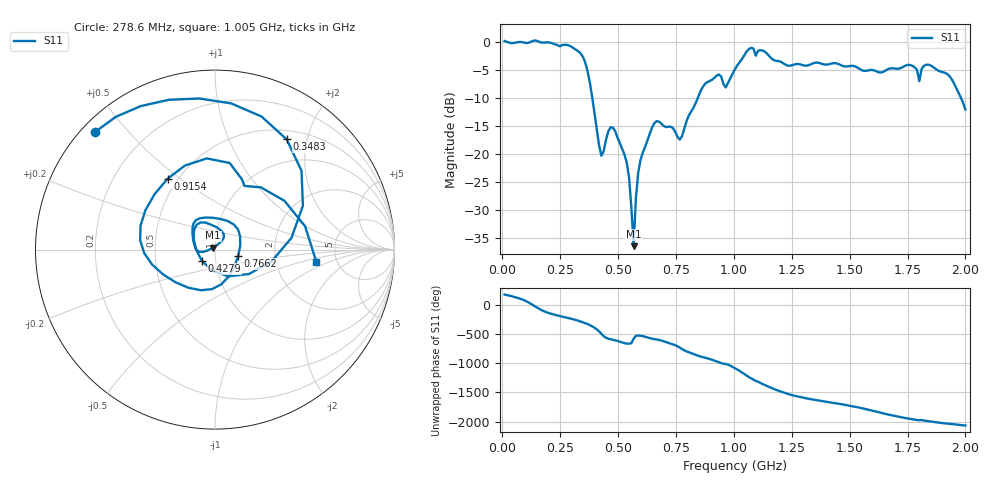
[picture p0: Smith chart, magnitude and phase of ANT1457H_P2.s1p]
!Created with skrf (http://scikit-rf.org).
# Hz S RI R 50.0
!freq ReS11 ImS11
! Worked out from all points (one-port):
!   201 points, 10 MHz to 2 GHz, reference 50 ohm
!   lowest |S11| = -36.5 dB at 567.2 MHz (marker M1), VSWR 1.03, Z = 48.9 + j1.02 ohm
!   |S11| at or under -10 dB: 388.7 MHz to 844.6 MHz (455.9 MHz wide, 73.9 % of centre); 1.981 GHz to end of sweep
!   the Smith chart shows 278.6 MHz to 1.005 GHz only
!   S11 on the Smith chart (normalised r, x): 278.6 MHz: 0.04, +0.41; 348.3 MHz: 0.63, +1.66; 427.9 MHz: 0.86, -0.11; 766.2 MHz: 1.29, -0.09; 915.5 MHz: 0.44, +0.45; 1.005 GHz: 3.48, -0.70
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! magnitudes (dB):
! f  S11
! 10 MHz  0.1
! 258.8 MHz  -0.6
! 278.6 MHz  -0.6
! 348.3 MHz  -2.7
! 378.1 MHz  -7.3
! 427.9 MHz  -20.3
! 467.7 MHz  -15.3
! 507.5 MHz  -18.0
! 547.3 MHz  -24.1
! 567.2 MHz  -36.5
! 577.1 MHz  -27.8
! 587.1 MHz  -23.3
! 646.8 MHz  -15.3
! 676.6 MHz  -14.2
! 756.2 MHz  -16.9
! 766.2 MHz  -17.5
! 865.7 MHz  -8.1
! 915.5 MHz  -6.5
! 965.2 MHz  -8.2
! 1.005 GHz  -4.9
! 1.075 GHz  -1.1
! 1.254 GHz  -4.2
! 1.502 GHz  -4.3
! 1.751 GHz  -4.1
! 1.801 GHz  -7.0
! 1.831 GHz  -4.1
! 1.92 GHz  -5.7
! 2 GHz  -12.1
